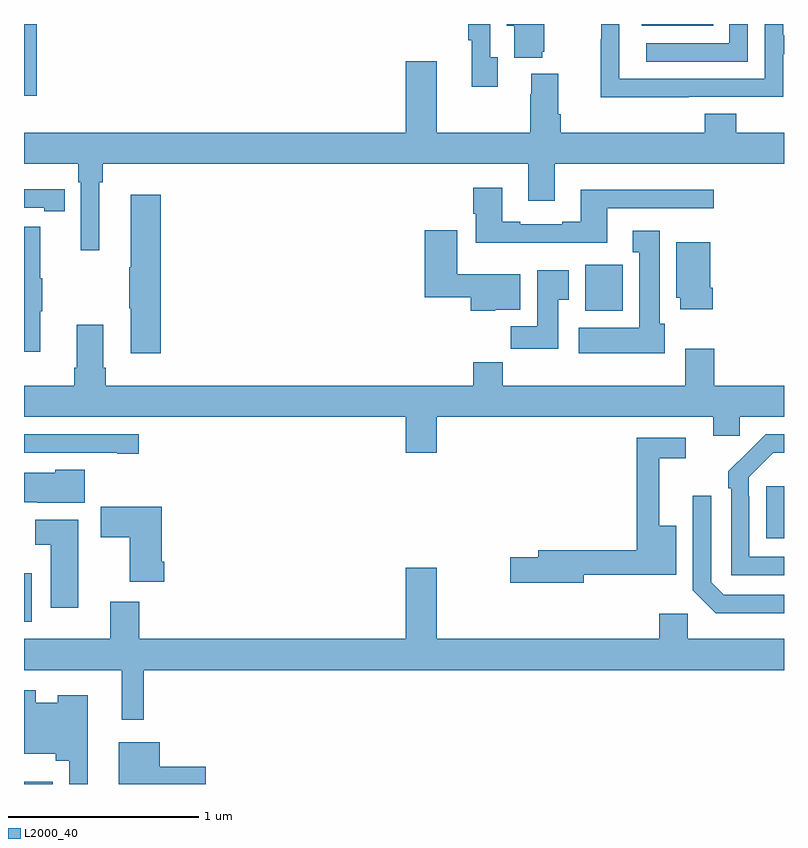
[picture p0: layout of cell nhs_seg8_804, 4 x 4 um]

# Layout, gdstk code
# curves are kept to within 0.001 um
import gdstk
lib = gdstk.Library(unit=1e-6, precision=1e-09)
def R(c, l, rs):  # rectangles x0, y0, x1, y1
    for r in rs: c.add(gdstk.rectangle(r[:2], r[2:], *l))
def P(c, l, *ps):  # polygons
    for p in ps: c.add(gdstk.Polygon(p, *l))
L2000_40 = (2000, 40)

nhs_seg8_804 = lib.new_cell('nhs_seg8_804')
R(nhs_seg8_804, L2000_40, [(163,1115.9,163.15,1115.911), (163,1116.755,163.042,1117.009), (166.907,1117.193,167,1117.468), (165.953,1118.39,166.15,1118.632), (163,1119.522,163.067,1119.9), (166.25,1119.89,166.628,1119.9)])
P(nhs_seg8_804, L2000_40, [(166.809,1119.9),(166.713,1119.9),(166.713,1119.798),(166.275,1119.798),(166.275,1119.702),(166.809,1119.702)],
  [(165.728,1119.753),(165.739,1119.753),(165.739,1119.9),(165.542,1119.9),(165.542,1119.89),(165.581,1119.89),(165.581,1119.722),(165.728,1119.722)],
  [(165.493,1119.726),(165.453,1119.726),(165.453,1119.9),(165.337,1119.9),(165.337,1119.814),(165.356,1119.814),(165.356,1119.57),(165.493,1119.57)],
  [(166.499,1119.516),(166.995,1119.516),(166.995,1119.741),(167,1119.741),(167,1119.842),(166.995,1119.842),(166.995,1119.9),(166.899,1119.9),(166.899,1119.612),(166.134,1119.612),(166.134,1119.9),(166.038,1119.9),(166.038,1119.821),(166.036,1119.821),(166.036,1119.515),(166.499,1119.515)],
  [(163.396,1119.068),(163.415,1119.068),(163.415,1119.164),(165.653,1119.164),(165.653,1118.97),(165.793,1118.97),(165.793,1119.164),(167,1119.164),(167,1119.328),(166.748,1119.328),(166.748,1119.427),(166.583,1119.427),(166.583,1119.328),(165.824,1119.328),(165.824,1119.424),(165.811,1119.424),(165.811,1119.637),(165.671,1119.637),(165.671,1119.53),(165.664,1119.53),(165.664,1119.328),(165.172,1119.328),(165.172,1119.703),(165.008,1119.703),(165.008,1119.328),(163,1119.328),(163,1119.164),(163.286,1119.164),(163.286,1119.068),(163.299,1119.068),(163.299,1118.709),(163.396,1118.709)],
  [(166.069,1118.931),(166.63,1118.931),(166.63,1119.028),(165.929,1119.028),(165.929,1118.86),(165.833,1118.86),(165.833,1118.847),(165.613,1118.847),(165.613,1118.86),(165.517,1118.86),(165.517,1119.037),(165.365,1119.037),(165.365,1118.902),(165.377,1118.902),(165.377,1118.75),(166.069,1118.75)],
  [(163.214,1119.03),(163.106,1119.03),(163.106,1119.031),(163,1119.031),(163,1118.934),(163.106,1118.934),(163.106,1118.914),(163.214,1118.914)],
  [(163.721,1119.001),(163.562,1119.001),(163.562,1118.621),(163.555,1118.621),(163.555,1118.404),(163.562,1118.404),(163.562,1118.166),(163.721,1118.166)],
  [(163.085,1118.387),(163.096,1118.387),(163.096,1118.561),(163.085,1118.561),(163.085,1118.833),(163,1118.833),(163,1118.175),(163.085,1118.175)],
  [(165.48,1118.396),(165.613,1118.396),(165.613,1118.584),(165.28,1118.584),(165.28,1118.815),(165.11,1118.815),(165.11,1118.462),(165.35,1118.462),(165.35,1118.39),(165.48,1118.39)],
  [(166.372,1118.322),(166.345,1118.322),(166.345,1118.812),(166.205,1118.812),(166.205,1118.699),(166.238,1118.699),(166.238,1118.302),(165.921,1118.302),(165.921,1118.168),(166.372,1118.168)],
  [(166.625,1118.512),(166.612,1118.512),(166.612,1118.752),(166.433,1118.752),(166.433,1118.46),(166.454,1118.46),(166.454,1118.4),(166.625,1118.4)],
  [(165.811,1118.449),(165.868,1118.449),(165.868,1118.605),(165.701,1118.605),(165.701,1118.308),(165.562,1118.308),(165.562,1118.19),(165.811,1118.19)],
  [(165.172,1117.832),(166.628,1117.832),(166.628,1117.734),(166.767,1117.734),(166.767,1117.832),(167,1117.832),(167,1117.996),(166.634,1117.996),(166.634,1118.191),(166.481,1118.191),(166.481,1117.996),(165.521,1117.996),(165.521,1118.12),(165.365,1118.12),(165.365,1117.996),(163.43,1117.996),(163.43,1118.092),(163.417,1118.092),(163.417,1118.317),(163.277,1118.317),(163.277,1118.092),(163.265,1118.092),(163.265,1117.996),(163,1117.996),(163,1117.832),(165.008,1117.832),(165.008,1117.644),(165.172,1117.644)],
  [(163.603,1117.74),(163,1117.74),(163,1117.644),(163.49,1117.644),(163.49,1117.639),(163.603,1117.639)],
  [(167,1117.095),(166.818,1117.095),(166.818,1117.415),(166.815,1117.415),(166.815,1117.515),(166.944,1117.644),(167,1117.644),(167,1117.74),(166.904,1117.74),(166.707,1117.545),(166.707,1117.457),(166.722,1117.457),(166.722,1116.999),(167,1116.999)],
  [(165.946,1117.002),(166.432,1117.002),(166.432,1117.258),(166.343,1117.258),(166.343,1117.614),(166.483,1117.614),(166.483,1117.722),(166.225,1117.722),(166.225,1117.13),(165.707,1117.13),(165.707,1117.094),(165.558,1117.094),(165.558,1116.959),(165.946,1116.959)],
  [(163.321,1117.555),(163.164,1117.555),(163.164,1117.537),(163,1117.537),(163,1117.383),(163.069,1117.383),(163.069,1117.379),(163.321,1117.379)],
  [(167,1116.897),(166.683,1116.897),(166.617,1116.963),(166.617,1117.417),(166.521,1117.417),(166.521,1116.921),(166.642,1116.8),(167,1116.8)],
  [(163.739,1117.069),(163.726,1117.069),(163.726,1117.36),(163.404,1117.36),(163.404,1117.198),(163.556,1117.198),(163.556,1116.965),(163.739,1116.965)],
  [(163.285,1117.291),(163.058,1117.291),(163.058,1117.16),(163.142,1117.16),(163.142,1116.828),(163.285,1116.828)],
  [(163.631,1116.5),(167,1116.5),(167,1116.664),(166.494,1116.664),(166.494,1116.796),(166.343,1116.796),(166.343,1116.664),(165.172,1116.664),(165.172,1117.039),(165.008,1117.039),(165.008,1116.664),(163.607,1116.664),(163.607,1116.859),(163.454,1116.859),(163.454,1116.664),(163,1116.664),(163,1116.5),(163.514,1116.5),(163.514,1116.237),(163.631,1116.237)],
  [(163.336,1116.367),(163.178,1116.367),(163.178,1116.328),(163.062,1116.328),(163.062,1116.394),(163,1116.394),(163,1116.059),(163.166,1116.059),(163.166,1116.023),(163.239,1116.023),(163.239,1115.9),(163.336,1115.9)],
  [(163.957,1115.99),(163.714,1115.99),(163.714,1116.121),(163.499,1116.121),(163.499,1115.9),(163.957,1115.9)])

lib.write_gds('nhs_seg8_804.gds')
